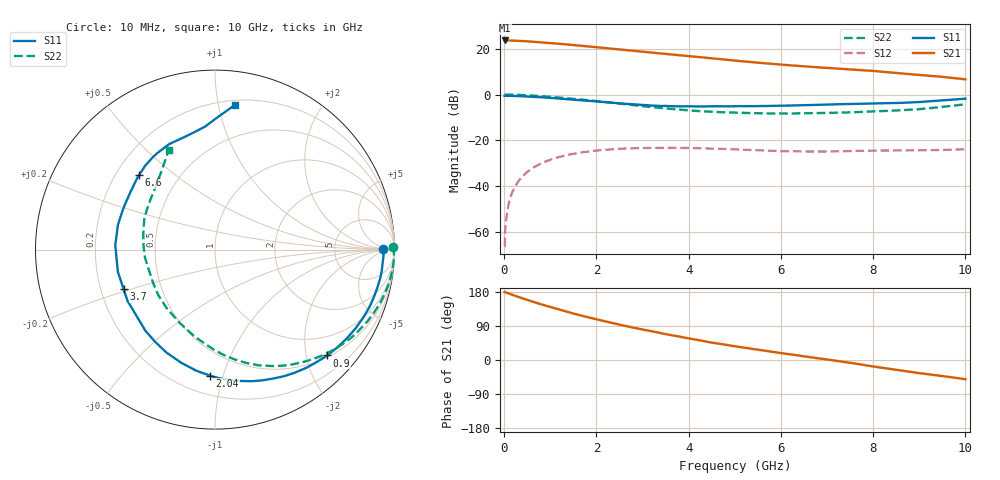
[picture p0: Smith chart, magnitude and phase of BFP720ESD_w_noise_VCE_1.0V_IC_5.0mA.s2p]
! Infineon Technologies  Discrete & RF Semiconductors
! BFP720ESD
! VCE =  1.0 V,  IC =  5.0 mA
! Common Emitter S-Parameters:  Jan 2016
# GHz  S  MA  R  50
!  f  S11  S21  S12  S22
! GHz  MAG  ANG  MAG  ANG  MAG  ANG  MAG  ANG
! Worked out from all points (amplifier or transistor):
!   233 points, 10 MHz to 10 GHz, reference 50 ohm
!   highest |S21| = 23.6 dB at 10 MHz (marker M1)
!   |S21| within 3 dB of that: start of sweep to 2.03 GHz
!   unconditionally stable (mu >= 1): 5.915 GHz to 9.734 GHz
!   at 200 MHz: K = 0.04, MSG = 32.5 dB, |S12| = -41.5 dB
!   at 1.74 GHz: K = 0.26, MSG = 23.1 dB, |S12| = -25.0 dB
!   at 10 GHz: K = 0.87, MSG = 15.2 dB, |S12| = -23.8 dB
!   lowest NFmin = 0.54 dB at 450 MHz
!   S11 on the Smith chart (normalised r, x): 10 MHz: 32, +1; 900 MHz: 0.53, -2.42; 2.04 GHz: 0.33, -0.91; 3.7 GHz: 0.30, -0.19; 6.6 GHz: 0.30, +0.38; 10 GHz: 0.24, +1.12
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0.01  0.9386 0.1  15.06 179.6  0.0005 -156.2  0.9933 0.9
0.03  0.9388 -1.5  14.96 178.6  0.0014 96.3  0.9968 -0.9
0.065  0.938 -3.2  14.99 177.0  0.0027 93.8  0.9975 -2.3
0.2  0.9342 -9.9  14.99 171.1  0.0084 83.4  0.9932 -7.3
0.38  0.9207 -18.7  14.68 163.3  0.0158 77.1  0.979 -13.8
0.58  0.8994 -28.3  14.25 155.1  0.0236 70.7  0.9561 -20.7
0.9  0.8597 -43.3  13.51 143.2  0.0349 60.7  0.9109 -31.5
1.3  0.8031 -61.5  12.5 129.2  0.0466 49.3  0.8424 -44.2
1.68  0.7496 -77.8  11.53 116.9  0.0549 39.8  0.7763 -55.2
2.04  0.7026 -92.2  10.64 106.4  0.0608 31.8  0.716 -64.9
2.4  0.6575 -106.8  9.842 96.1  0.0652 24.4  0.6552 -74.6
2.78  0.6142 -122.2  9.032 85.9  0.0678 17.2  0.5919 -84.7
3.4  0.5659 -145.7  7.827 70.8  0.069 7.5  0.5087 -100.3
3.7  0.5548 -156.5  7.331 64.0  0.0689 3.7  0.4774 -107.9
4  0.5552 -167.1  6.9 57.0  0.0688 0.1  0.4527 -115.9
4.5  0.5562 177.5  6.169 45.9  0.067 -5.5  0.4228 -129.7
5.1  0.5572 163.5  5.377 34.4  0.0634 -9.8  0.4017 -143.2
6  0.5703 145.6  4.499 18.3  0.0586 -12.7  0.3858 -162.3
6.6  0.5924 135.6  4.051 8.0  0.0576 -12.7  0.3926 -174.9
6.8  0.5995 132.7  3.92 4.7  0.0575 -12.6  0.3945 -178.7
8.4  0.6493 105.5  3.01 -24.3  0.0605 -15.4  0.4451 146.8
10  0.8135 82.1  2.146 -50.8  0.0643 -18.5  0.6124 114.9
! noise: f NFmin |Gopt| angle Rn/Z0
0.45  0.54  0.48  5  0.15
0.9  0.58  0.47  13  0.15
1.9  0.62  0.41  32  0.14
2.4  0.67  0.38  38  0.14
5.5  0.9  0.17  118  0.09
10  1.55  0.55  -99  0.38
